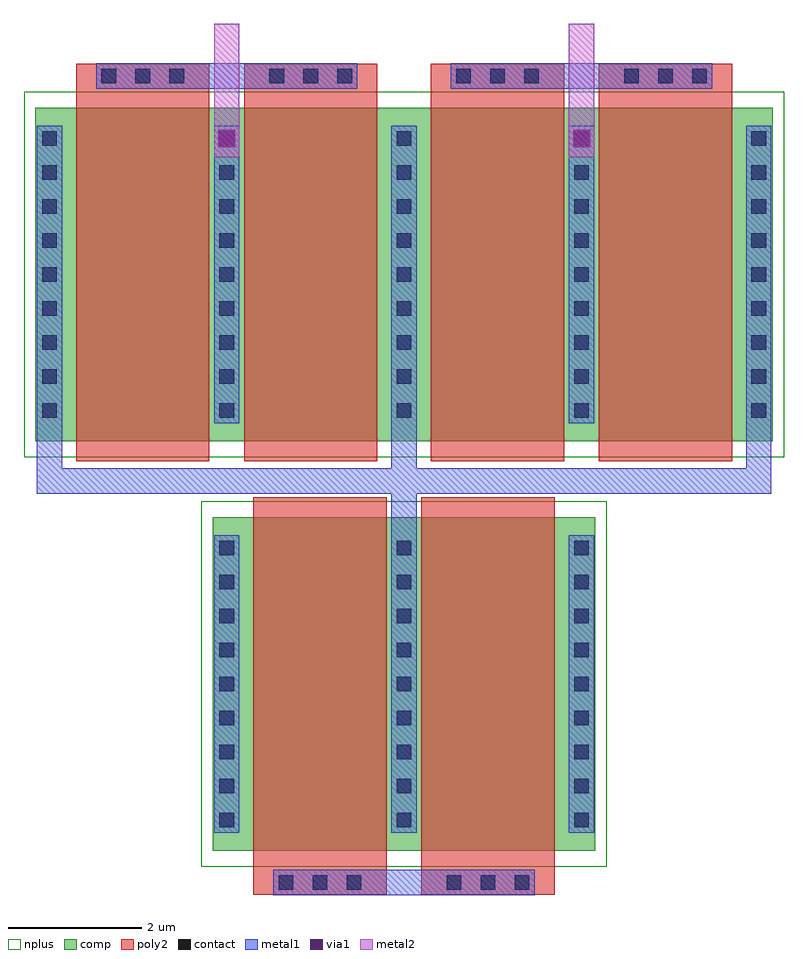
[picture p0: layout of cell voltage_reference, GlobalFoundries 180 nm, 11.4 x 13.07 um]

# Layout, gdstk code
import gdstk
lib = gdstk.Library(unit=1e-6, precision=5e-09)
def R(c, l, rs):  # rectangles x0, y0, x1, y1
    for r in rs: c.add(gdstk.rectangle(r[:2], r[2:], *l))
def A(c, l, x, y, w, h, nx, ny, dx, dy):  # array of equal rectangles
    R(c, l, [(x+i*dx, y+j*dy, x+i*dx+w, y+j*dy+h) for i in range(nx) for j in range(ny)])
comp = (22, 0)
poly2 = (30, 0)
nplus = (32, 0)
contact = (33, 0)
metal1 = (34, 0)
via1 = (35, 0)
metal2 = (36, 0)

nfet = lib.new_cell('nfet')
R(nfet, comp, [(-0.42,0,0,5), (0,0,4.9,5), (4.9,0,5.32,5)])
R(nfet, poly2, [(0.19,-0.3,2.19,5.3), (2.71,-0.3,4.71,5.3), (0.19,5.3,2.19,5.66), (2.71,5.3,4.71,5.66)])
R(nfet, nplus, [(-0.59,-0.24,5.49,5.24)])
A(nfet, contact, -0.32, 0.35, 0.22, 0.22, 3, 9, 2.66, 0.51)
A(nfet, contact, 0.57, 5.37, 0.22, 0.22, 3, 1, 0.51, 0)
A(nfet, contact, 3.09, 5.37, 0.22, 0.22, 3, 1, 0.51, 0)
A(nfet, metal1, -0.4, 0.27, 0.38, 4.46, 3, 1, 2.66, 0)
R(nfet, metal1, [(0.49,5.29,1.89,5.67), (3.01,5.29,4.41,5.67)])

nfet_1 = lib.new_cell('nfet$1')
R(nfet_1, comp, [(-0.42,0,0,5), (0,0,4.9,5), (4.9,0,5.32,5)])
R(nfet_1, poly2, [(0.19,-0.66,2.19,-0.3), (2.71,-0.66,4.71,-0.3), (0.19,-0.3,2.19,5.3), (2.71,-0.3,4.71,5.3)])
R(nfet_1, nplus, [(-0.59,-0.24,5.49,5.24)])
A(nfet_1, contact, 0.57, -0.59, 0.22, 0.22, 3, 1, 0.51, 0)
A(nfet_1, contact, 3.09, -0.59, 0.22, 0.22, 3, 1, 0.51, 0)
A(nfet_1, contact, -0.32, 0.35, 0.22, 0.22, 3, 9, 2.66, 0.51)
A(nfet_1, metal1, -0.4, 0.27, 0.38, 4.46, 3, 1, 2.66, 0)
R(nfet_1, metal1, [(0.49,-0.67,1.89,-0.29), (3.01,-0.67,4.41,-0.29)])

voltage_reference = lib.new_cell('voltage_reference')
R(voltage_reference, metal1, [(5.275,0.18,9.195,0.56), (2.615,12.28,6.535,12.66), (7.935,12.28,11.855,12.66)])
R(voltage_reference, via1, [(4.445,11.4,4.705,11.66), (9.77,11.4,10.03,11.66)])
R(voltage_reference, metal2, [(4.385,11.25,4.765,13.25), (9.705,11.25,10.085,13.25)])
voltage_reference.add(gdstk.FlexPath([(1.915,7.26),(1.915,6.395),(12.555,6.395),(12.555,7.26)], 0.38, ends="flush", simple_path=True, layer=34, datatype=0))  # metal1
voltage_reference.add(gdstk.FlexPath([(7.235,7.26),(7.235,6.585)], 0.38, ends="flush", simple_path=True, layer=34, datatype=0))  # metal1
voltage_reference.add(gdstk.FlexPath([(7.235,5.58),(7.235,6.205)], 0.38, ends="flush", simple_path=True, layer=34, datatype=0))  # metal1
voltage_reference.add(gdstk.Reference(nfet, (2.125,6.99)))
voltage_reference.add(gdstk.Reference(nfet, (7.445,6.99)))
voltage_reference.add(gdstk.Reference(nfet_1, (4.785,0.85)))

lib.write_gds('voltage_reference.gds')
